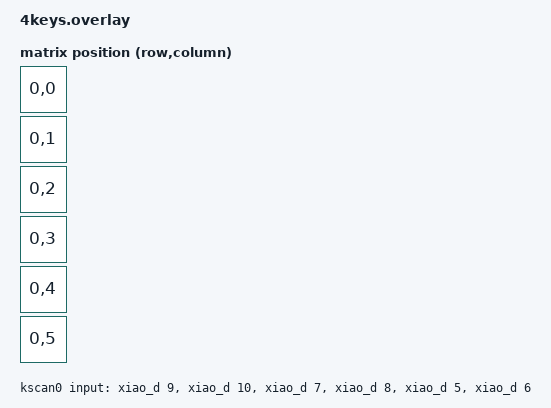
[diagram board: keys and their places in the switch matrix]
#include <behaviors.dtsi>
#include <dt-bindings/zmk/keys.h>
#include <dt-bindings/zmk/bt.h>
#include <dt-bindings/zmk/matrix_transform.h>

/ {

    chosen {
        zmk,kscan = &kscan0;
        zmk,matrix_transform = &default_transform;
    };

    kscan0: kscan_0 {
        compatible = "zmk,kscan-gpio-direct";
        label = "KSCAN0";
        input-gpios = <
            &xiao_d  9 (GPIO_ACTIVE_LOW | GPIO_PULL_UP)
            &xiao_d 10 (GPIO_ACTIVE_LOW | GPIO_PULL_UP)
            &xiao_d  7 (GPIO_ACTIVE_LOW | GPIO_PULL_UP)
            &xiao_d  8 (GPIO_ACTIVE_LOW | GPIO_PULL_UP)
            &xiao_d  5 (GPIO_ACTIVE_LOW | GPIO_PULL_UP)
            &xiao_d  6 (GPIO_ACTIVE_LOW | GPIO_PULL_UP)

        >;
    };

    default_transform: matrix_transform {
        compatible = "zmk,matrix-transform";
        rows = <6>;
        columns = <1>;
        map = <
            RC(0,0)
            RC(0,1)
            RC(0,2)
            RC(0,3)
            RC(0,4)
            RC(0,5)

        >;
    };
};
